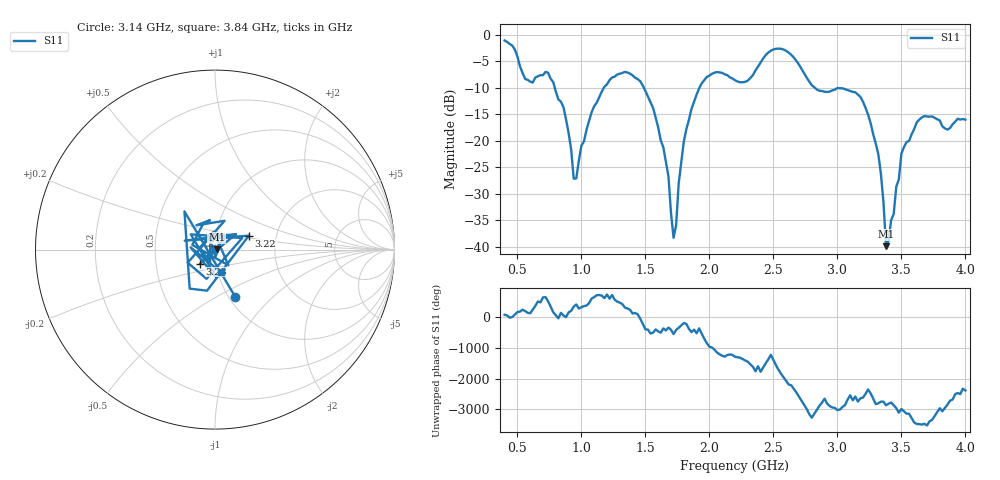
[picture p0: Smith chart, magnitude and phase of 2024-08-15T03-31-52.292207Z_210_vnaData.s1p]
!Created with skrf (http://scikit-rf.org).
# Hz S RI R 50.0
!freq ReS11 ImS11
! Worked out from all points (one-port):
!   181 points, 400 MHz to 4 GHz, reference 50 ohm
!   lowest |S11| = -39.9 dB at 3.38 GHz (marker M1), VSWR 1.02, Z = 51 + j0.156 ohm
!   |S11| at or under -10 dB: 791.9 MHz to 1.176 GHz (383.7 MHz wide, 39 % of centre); 1.488 GHz to 1.922 GHz (434.4 MHz wide, 25.5 % of centre); 2.824 GHz to end of sweep
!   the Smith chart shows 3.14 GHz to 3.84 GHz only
!   S11 on the Smith chart (normalised r, x): 3.14 GHz: 1.07, -0.61; 3.22 GHz: 1.44, +0.23; 3.28 GHz: 0.84, -0.13; 3.84 GHz: 1.03, -0.27
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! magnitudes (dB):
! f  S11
! 400 MHz  -1.1
! 560 MHz  -8.3
! 740 MHz  -7.2
! 860 MHz  -13.7
! 960 MHz  -27.1
! 1.08 GHz  -14.6
! 1.3 GHz  -7.4
! 1.56 GHz  -13.8
! 1.68 GHz  -26.7
! 1.72 GHz  -38.3
! 1.76 GHz  -28.1
! 1.82 GHz  -17.8
! 1.94 GHz  -9.2
! 2.2 GHz  -8.6
! 2.5 GHz  -2.8
! 2.66 GHz  -4.3
! 2.84 GHz  -10.4
! 3.1 GHz  -10.6
! 3.14 GHz  -10.9
! 3.22 GHz  -13.8
! 3.28 GHz  -18.8
! 3.34 GHz  -26.3
! 3.38 GHz  -39.9
! 3.5 GHz  -22.4
! 3.56 GHz  -20.0
! 3.68 GHz  -15.4
! 3.84 GHz  -17.7
! 4 GHz  -16.0
